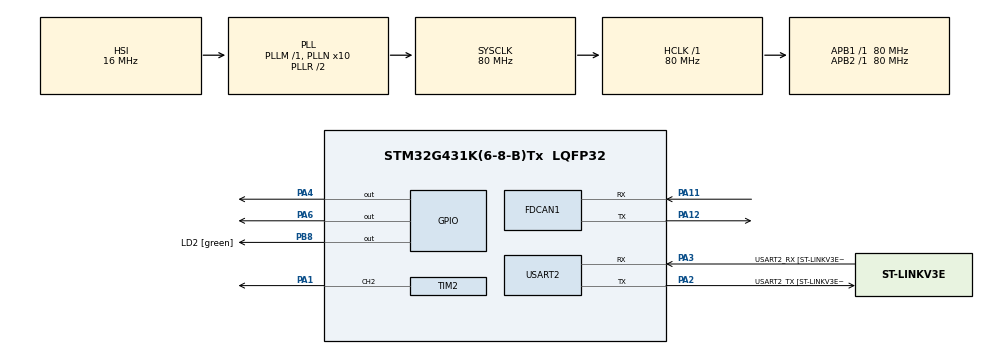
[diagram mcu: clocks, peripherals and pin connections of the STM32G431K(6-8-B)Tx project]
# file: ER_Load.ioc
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FDCAN1.CalculateBaudRateNominal=1000000
FDCAN1.CalculateTimeBitNominal=1000
FDCAN1.CalculateTimeQuantumNominal=62.5
FDCAN1.DataPrescaler=2
FDCAN1.DataSyncJumpWidth=2
FDCAN1.DataTimeSeg1=10
FDCAN1.DataTimeSeg2=9
FDCAN1.FrameFormat=FDCAN_FRAME_FD_NO_BRS
FDCAN1.NominalPrescaler=5
FDCAN1.NominalSyncJumpWidth=2
FDCAN1.NominalTimeSeg1=13
FDCAN1.StdFiltersNbr=1
Mcu.Family=STM32G4
Mcu.Name=STM32G431K(6-8-B)Tx
Mcu.Package=LQFP32
NVIC.FDCAN1_IT0_IRQn=true\:0\:0\:false\:false\:true\:true\:true\:true
NVIC.PriorityGroup=NVIC_PRIORITYGROUP_4
PA1.Signal=S_TIM2_CH2
PA11.Mode=FDCAN_Activate
PA11.Signal=FDCAN1_RX
PA12.Mode=FDCAN_Activate
PA12.Signal=FDCAN1_TX
PA13.GPIO_Label=T_SWDIO
PA13.Mode=Serial_Wire
PA13.Signal=SYS_JTMS-SWDIO
PA14.GPIO_Label=T_SWCLK
PA14.Mode=Serial_Wire
PA14.Signal=SYS_JTCK-SWCLK
PA2.GPIO_Label=USART2_TX [ST-LINKV3E_VCP_RX]
PA2.Mode=Asynchronous
PA2.Signal=USART2_TX
PA3.GPIO_Label=USART2_RX [ST-LINKV3E_VCP_TX]
PA3.Mode=Asynchronous
PA3.Signal=USART2_RX
PA4.Signal=GPIO_Output
PA6.Signal=GPIO_Output
PB8-BOOT0.GPIO_Label=LD2 [green]
PB8-BOOT0.Signal=GPIO_Output
ProjectManager.HeapSize=0x200
ProjectManager.StackSize=0x400
ProjectManager.TargetToolchain=STM32CubeIDE
RCC.ADC12Freq_Value=80000000
RCC.AHBFreq_Value=80000000
RCC.APB1Freq_Value=80000000
RCC.APB1TimFreq_Value=80000000
RCC.APB2Freq_Value=80000000
RCC.APB2TimFreq_Value=80000000
RCC.CortexFreq_Value=80000000
RCC.EXTERNAL_CLOCK_VALUE=12288000
RCC.HCLKFreq_Value=80000000
RCC.HSE_VALUE=8000000
RCC.HSI48_VALUE=48000000
RCC.HSI_VALUE=16000000
RCC.LSE_VALUE=32768
RCC.PLLN=10
RCC.SYSCLKFreq_VALUE=80000000
RCC.SYSCLKSource=RCC_SYSCLKSOURCE_PLLCLK
RCC.USBFreq_Value=80000000
RCC.VCOOutputFreq_Value=160000000
SH.S_TIM2_CH2.0=TIM2_CH2,PWM Generation2 CH2
TIM2.Channel-PWM\ Generation2\ CH2=TIM_CHANNEL_2
TIM2.PeriodNoDither=19999
TIM2.Prescaler=79
USART2.VirtualMode-Asynchronous=VM_ASYNC
USART2.WordLength=WORDLENGTH_8B
VP_TIM2_VS_ClockSourceINT.Mode=Internal
board=NUCLEO-G431KB

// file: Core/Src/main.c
/* USER CODE BEGIN Header */
/**
  ******************************************************************************
  * @file           : main.c
  * @brief          : Main program body
  ******************************************************************************
  * @attention
  *
  * Copyright (c) 2023 STMicroelectronics.
  * All rights reserved.
  *
  * This software is licensed under terms that can be found in the LICENSE file
  * in the root directory of this software component.
  * If no LICENSE file comes with this software, it is provided AS-IS.
  *
  ******************************************************************************
  */
/* USER CODE END Header */
#include "main.h"

/* USER CODE BEGIN PM */
#define DmSec 300

/* USER CODE END PM */

FDCAN_HandleTypeDef hfdcan1;

TIM_HandleTypeDef htim2;

UART_HandleTypeDef huart2;

/* USER CODE BEGIN PV */
FDCAN_TxHeaderTypeDef TxHeader;
FDCAN_RxHeaderTypeDef RxHeader;
FDCAN_FilterTypeDef sFilterConfig;

uint8_t TxData[1];
uint8_t RxData[1];
uint32_t TxMailbox;
/* USER CODE END PV */

void SystemClock_Config(void);

static void MX_GPIO_Init(void);

static void MX_USART2_UART_Init(void);

static void MX_FDCAN1_Init(void);

static void MX_TIM2_Init(void);

/* USER CODE BEGIN 0 */
void CylN() {
    HAL_GPIO_WritePin(GPIOA, GPIO_PIN_6, GPIO_PIN_RESET);
    HAL_GPIO_WritePin(GPIOA, GPIO_PIN_4, GPIO_PIN_RESET);
}

void CylPush() {
    HAL_GPIO_WritePin(GPIOA, GPIO_PIN_6, GPIO_PIN_SET);
    HAL_GPIO_WritePin(GPIOA, GPIO_PIN_4, GPIO_PIN_RESET);

    HAL_Delay(DmSec);

    CylN();
}

void CylPull() {
    HAL_GPIO_WritePin(GPIOA, GPIO_PIN_6, GPIO_PIN_RESET);
    HAL_GPIO_WritePin(GPIOA, GPIO_PIN_4, GPIO_PIN_SET);

    HAL_Delay(DmSec);

    CylN();
}

//Drive servo to target angle
void ServoDrive(int degree) {

    uint16_t PWidth = 1000 + degree * 1000 / 180;/*
	if(PWidth > 2000)PWidth = 2000;
	else if(PWidth < 500)PWidth = 500;*/
    __HAL_TIM_SET_COMPARE(&htim2, TIM_CHANNEL_2, PWidth);
}

int flag = 0;
/* USER CODE END 0 */

int main(void) {

    /* MCU Configuration--------------------------------------------------------*/

    /* Reset of all peripherals, Initializes the Flash interface and the Systick. */
    HAL_Init();

    /* Configure the system clock */
    SystemClock_Config();

    /* Initialize all configured peripherals */
    MX_GPIO_Init();
    MX_USART2_UART_Init();
    MX_FDCAN1_Init();
    MX_TIM2_Init();
    /* USER CODE BEGIN 2 */
    TxHeader.Identifier = 0x517;
    TxHeader.IdType = FDCAN_STANDARD_ID;
    TxHeader.TxFrameType = FDCAN_DATA_FRAME;
    TxHeader.DataLength = FDCAN_DLC_BYTES_1;
    TxHeader.ErrorStateIndicator = FDCAN_ESI_ACTIVE;
    TxHeader.BitRateSwitch = FDCAN_BRS_ON;
    TxHeader.FDFormat = FDCAN_FD_CAN;
    TxHeader.TxEventFifoControl = FDCAN_NO_TX_EVENTS;
    TxHeader.MessageMarker = 0;

    FDCAN_FilterTypeDef sFilterConfig;
    sFilterConfig.IdType = FDCAN_STANDARD_ID;
    sFilterConfig.FilterIndex = 0;
    sFilterConfig.FilterType = FDCAN_FILTER_DUAL;
    sFilterConfig.FilterConfig = FDCAN_FILTER_TO_RXFIFO0;
    sFilterConfig.FilterID1 = 0x051;
    sFilterConfig.FilterID2 = 0x311;

    if (HAL_FDCAN_ConfigFilter(&hfdcan1, &sFilterConfig) != HAL_OK) {
        Error_Handler();
    }
    if (HAL_FDCAN_ConfigGlobalFilter(&hfdcan1, FDCAN_REJECT, FDCAN_REJECT, FDCAN_FILTER_REMOTE, FDCAN_FILTER_REMOTE) !=
        HAL_OK) {
        Error_Handler();
    }

    /* Start the FDCAN module */
    if (HAL_FDCAN_Start(&hfdcan1) != HAL_OK) {
        Error_Handler();
    }
    if (HAL_FDCAN_ActivateNotification(&hfdcan1, FDCAN_IT_RX_FIFO0_NEW_MESSAGE, 0) != HAL_OK){
        Error_Handler();
    }

    /* USER CODE END 2 */

    /* Infinite loop */
    /* USER CODE BEGIN WHILE */
    while (1) {
        if (flag == 1) {
            //todo collecting ring
            ServoDrive(200);  // 仮置き
            HAL_Delay(100);
            ServoDrive(100);  //仮置き
            HAL_Delay(100);
            CylPull();
            HAL_Delay(100);
            CylPush();
            flag = 0;
        }
        /* USER CODE END WHILE */

    }
}

void SystemClock_Config(void) {
    RCC_OscInitTypeDef RCC_OscInitStruct = {0};
    RCC_ClkInitTypeDef RCC_ClkInitStruct = {0};

    /** Configure the main internal regulator output voltage
    */
    HAL_PWREx_ControlVoltageScaling(PWR_REGULATOR_VOLTAGE_SCALE1);

    /** Initializes the RCC Oscillators according to the specified parameters
    * in the RCC_OscInitTypeDef structure.
    */
    RCC_OscInitStruct.OscillatorType = RCC_OSCILLATORTYPE_HSI;
    RCC_OscInitStruct.HSIState = RCC_HSI_ON;
    RCC_OscInitStruct.HSICalibrationValue = RCC_HSICALIBRATION_DEFAULT;
    RCC_OscInitStruct.PLL.PLLState = RCC_PLL_ON;
    RCC_OscInitStruct.PLL.PLLSource = RCC_PLLSOURCE_HSI;
    RCC_OscInitStruct.PLL.PLLM = RCC_PLLM_DIV1;
    RCC_OscInitStruct.PLL.PLLN = 10;
    RCC_OscInitStruct.PLL.PLLP = RCC_PLLP_DIV2;
    RCC_OscInitStruct.PLL.PLLQ = RCC_PLLQ_DIV2;
    RCC_OscInitStruct.PLL.PLLR = RCC_PLLR_DIV2;
    if (HAL_RCC_OscConfig(&RCC_OscInitStruct) != HAL_OK) {
        Error_Handler();
    }

    /** Initializes the CPU, AHB and APB buses clocks
    */
    RCC_ClkInitStruct.ClockType = RCC_CLOCKTYPE_HCLK | RCC_CLOCKTYPE_SYSCLK
                                  | RCC_CLOCKTYPE_PCLK1 | RCC_CLOCKTYPE_PCLK2;
    RCC_ClkInitStruct.SYSCLKSource = RCC_SYSCLKSOURCE_PLLCLK;
    RCC_ClkInitStruct.AHBCLKDivider = RCC_SYSCLK_DIV1;
    RCC_ClkInitStruct.APB1CLKDivider = RCC_HCLK_DIV1;
    RCC_ClkInitStruct.APB2CLKDivider = RCC_HCLK_DIV1;

    if (HAL_RCC_ClockConfig(&RCC_ClkInitStruct, FLASH_LATENCY_2) != HAL_OK) {
        Error_Handler();
    }
}

static void MX_FDCAN1_Init(void) {

    hfdcan1.Instance = FDCAN1;
    hfdcan1.Init.ClockDivider = FDCAN_CLOCK_DIV1;
    hfdcan1.Init.FrameFormat = FDCAN_FRAME_FD_NO_BRS;
    hfdcan1.Init.Mode = FDCAN_MODE_NORMAL;
    hfdcan1.Init.AutoRetransmission = DISABLE;
    hfdcan1.Init.TransmitPause = DISABLE;
    hfdcan1.Init.ProtocolException = DISABLE;
    hfdcan1.Init.NominalPrescaler = 5;
    hfdcan1.Init.NominalSyncJumpWidth = 2;
    hfdcan1.Init.NominalTimeSeg1 = 13;
    hfdcan1.Init.NominalTimeSeg2 = 2;
    hfdcan1.Init.DataPrescaler = 2;
    hfdcan1.Init.DataSyncJumpWidth = 2;
    hfdcan1.Init.DataTimeSeg1 = 10;
    hfdcan1.Init.DataTimeSeg2 = 9;
    hfdcan1.Init.StdFiltersNbr = 1;
    hfdcan1.Init.ExtFiltersNbr = 0;
    hfdcan1.Init.TxFifoQueueMode = FDCAN_TX_FIFO_OPERATION;
    if (HAL_FDCAN_Init(&hfdcan1) != HAL_OK) {
        Error_Handler();
    }

}

static void MX_TIM2_Init(void) {

    TIM_ClockConfigTypeDef sClockSourceConfig = {0};
    TIM_MasterConfigTypeDef sMasterConfig = {0};
    TIM_OC_InitTypeDef sConfigOC = {0};

    htim2.Instance = TIM2;
    htim2.Init.Prescaler = 79;
    htim2.Init.CounterMode = TIM_COUNTERMODE_UP;
    htim2.Init.Period = 19999;
    htim2.Init.ClockDivision = TIM_CLOCKDIVISION_DIV1;
    htim2.Init.AutoReloadPreload = TIM_AUTORELOAD_PRELOAD_DISABLE;
    if (HAL_TIM_Base_Init(&htim2) != HAL_OK) {
        Error_Handler();
    }
    sClockSourceConfig.ClockSource = TIM_CLOCKSOURCE_INTERNAL;
    if (HAL_TIM_ConfigClockSource(&htim2, &sClockSourceConfig) != HAL_OK) {
        Error_Handler();
    }
    if (HAL_TIM_PWM_Init(&htim2) != HAL_OK) {
        Error_Handler();
    }
    sMasterConfig.MasterOutputTrigger = TIM_TRGO_RESET;
    sMasterConfig.MasterSlaveMode = TIM_MASTERSLAVEMODE_DISABLE;
    if (HAL_TIMEx_MasterConfigSynchronization(&htim2, &sMasterConfig) != HAL_OK) {
        Error_Handler();
    }
    sConfigOC.OCMode = TIM_OCMODE_PWM1;
    sConfigOC.Pulse = 0;
    sConfigOC.OCPolarity = TIM_OCPOLARITY_HIGH;
    sConfigOC.OCFastMode = TIM_OCFAST_DISABLE;
    if (HAL_TIM_PWM_ConfigChannel(&htim2, &sConfigOC, TIM_CHANNEL_2) != HAL_OK) {
        Error_Handler();
    }
    /* USER CODE BEGIN TIM2_Init 2 */
    HAL_TIM_PWM_Start(&htim2, TIM_CHANNEL_2);
    /* USER CODE END TIM2_Init 2 */
    HAL_TIM_MspPostInit(&htim2);

}

static void MX_USART2_UART_Init(void) {

    huart2.Instance = USART2;
    huart2.Init.BaudRate = 115200;
    huart2.Init.WordLength = UART_WORDLENGTH_8B;
    huart2.Init.StopBits = UART_STOPBITS_1;
    huart2.Init.Parity = UART_PARITY_NONE;
    huart2.Init.Mode = UART_MODE_TX_RX;
    huart2.Init.HwFlowCtl = UART_HWCONTROL_NONE;
    huart2.Init.OverSampling = UART_OVERSAMPLING_16;
    huart2.Init.OneBitSampling = UART_ONE_BIT_SAMPLE_DISABLE;
    huart2.Init.ClockPrescaler = UART_PRESCALER_DIV1;
    huart2.AdvancedInit.AdvFeatureInit = UART_ADVFEATURE_NO_INIT;
    if (HAL_UART_Init(&huart2) != HAL_OK) {
        Error_Handler();
    }
    if (HAL_UARTEx_SetTxFifoThreshold(&huart2, UART_TXFIFO_THRESHOLD_1_8) != HAL_OK) {
        Error_Handler();
    }
    if (HAL_UARTEx_SetRxFifoThreshold(&huart2, UART_RXFIFO_THRESHOLD_1_8) != HAL_OK) {
        Error_Handler();
    }
    if (HAL_UARTEx_DisableFifoMode(&huart2) != HAL_OK) {
        Error_Handler();
    }

}

static void MX_GPIO_Init(void) {
    GPIO_InitTypeDef GPIO_InitStruct = {0};

    /* GPIO Ports Clock Enable */
    __HAL_RCC_GPIOA_CLK_ENABLE();
    __HAL_RCC_GPIOB_CLK_ENABLE();

    /*Configure GPIO pin Output Level */
    HAL_GPIO_WritePin(GPIOA, GPIO_PIN_4 | GPIO_PIN_6, GPIO_PIN_RESET);

    /*Configure GPIO pin Output Level */
    HAL_GPIO_WritePin(LD2_GPIO_Port, LD2_Pin, GPIO_PIN_RESET);

    /*Configure GPIO pins : PA4 PA6 */
    GPIO_InitStruct.Pin = GPIO_PIN_4 | GPIO_PIN_6;
    GPIO_InitStruct.Mode = GPIO_MODE_OUTPUT_PP;
    GPIO_InitStruct.Pull = GPIO_NOPULL;
    GPIO_InitStruct.Speed = GPIO_SPEED_FREQ_LOW;
    HAL_GPIO_Init(GPIOA, &GPIO_InitStruct);

    /*Configure GPIO pin : LD2_Pin */
    GPIO_InitStruct.Pin = LD2_Pin;
    GPIO_InitStruct.Mode = GPIO_MODE_OUTPUT_PP;
    GPIO_InitStruct.Pull = GPIO_NOPULL;
    GPIO_InitStruct.Speed = GPIO_SPEED_FREQ_LOW;
    HAL_GPIO_Init(LD2_GPIO_Port, &GPIO_InitStruct);

}

/* USER CODE BEGIN 4 */
void HAL_FDCAN_RxFifo0Callback(FDCAN_HandleTypeDef *hfdcan1, uint32_t RxFifo0ITs) {
    if ((RxFifo0ITs & FDCAN_IT_RX_FIFO0_NEW_MESSAGE) != RESET) {
        /* Retrieve Rx messages from RX FIFO0 */
        if (HAL_FDCAN_GetRxMessage(hfdcan1, FDCAN_RX_FIFO0, &RxHeader, RxData) != HAL_OK) {
            Error_Handler();
        }

        if ((RxHeader.Identifier == 0x311)) {
            flag = 1;
        }
        if ((RxHeader.Identifier == 0x051)) {
            // 初期化処理
        }
    }
}
/* USER CODE END 4 */

void Error_Handler(void) {
    __disable_irq();
    while (1) {
    }
}
